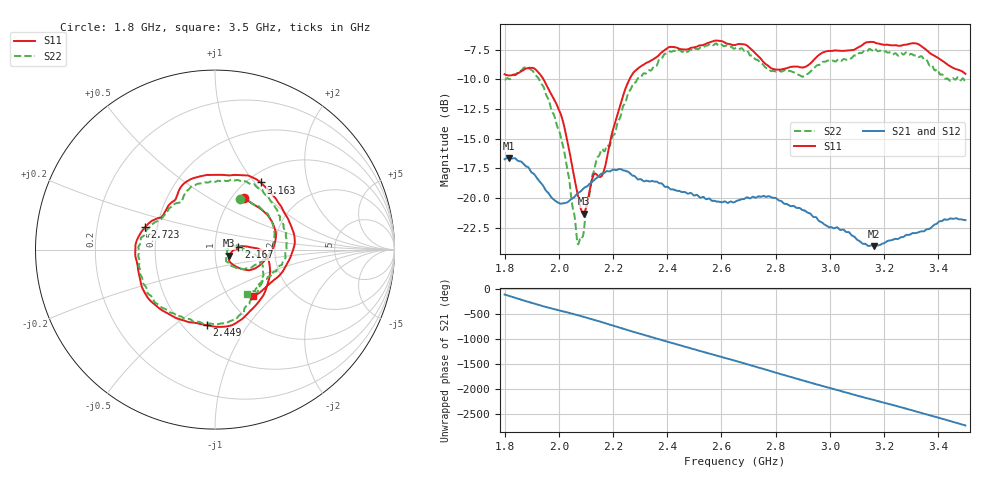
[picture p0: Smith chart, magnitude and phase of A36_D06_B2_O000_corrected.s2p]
! Created with skrf 1.9.0 (http://scikit-rf.org).
# Hz S RI R 50.0
!freq ReS11 ImS11 ReS21 ImS21 ReS12 ImS12 ReS22 ImS22
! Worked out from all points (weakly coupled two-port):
!   1601 points, 1.8 GHz to 3.5 GHz, reference 50 ohm
!   highest |S21| = -16.62 dB at 1.816 GHz (marker M1); lowest = -24.0 dB at 3.162 GHz (marker M2)
!   lowest |S11| = -21.3 dB at 2.091 GHz (marker M3), VSWR 1.19, Z = 58.5 - j3.9 ohm
!   |S11| at or under -10 dB: 1.943 GHz to 2.261 GHz (317.3 MHz wide, 15.1 % of centre)
!   |S22| runs from -23.9 to -7.0 dB; largest |S21 - S12| = 0.0024
!   S11 on the Smith chart (normalised r, x): 1.8 GHz: 1.13, +0.74; 2.167 GHz: 1.30, +0.04; 2.449 GHz: 0.65, -0.66; 2.723 GHz: 0.43, +0.13; 3.163 GHz: 1.14, +1.08; 3.5 GHz: 1.29, -0.75
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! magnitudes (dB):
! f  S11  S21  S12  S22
! 1.8 GHz  -9.6  -16.7  -16.7  -10.0
! 1.816 GHz  -9.7  -16.6  -16.6  -10.0
! 1.882 GHz  -9.1  -17.3  -17.3  -9.1
! 1.943 GHz  -10.0  -19.0  -19.0  -10.6
! 2.013 GHz  -13.3  -20.4  -20.4  -15.4
! 2.068 GHz  -19.5  -19.6  -19.6  -23.6
! 2.084 GHz  -21.1  -19.4  -19.3  -23.2
! 2.091 GHz  -21.3  -19.2  -19.2  -23.0
! 2.13 GHz  -18.0  -18.5  -18.5  -17.6
! 2.167 GHz  -17.7  -17.9  -17.9  -16.1
! 2.259 GHz  -10.1  -17.8  -17.8  -11.0
! 2.367 GHz  -8.0  -18.7  -18.6  -8.4
! 2.449 GHz  -7.5  -19.4  -19.4  -7.6
! 2.65 GHz  -7.1  -20.3  -20.3  -7.4
! 2.723 GHz  -7.8  -19.9  -19.9  -8.3
! 2.798 GHz  -9.2  -20.0  -20.0  -9.3
! 2.934 GHz  -8.5  -21.4  -21.4  -9.2
! 3.162 GHz  -6.9  -24.0  -24.0  -7.5
! 3.163 GHz  -6.9  -24.0  -24.0  -7.4
! 3.217 GHz  -7.1  -23.6  -23.5  -7.7
! 3.323 GHz  -7.0  -22.9  -22.9  -8.0
! 3.5 GHz  -9.5  -21.8  -21.8  -10.3
